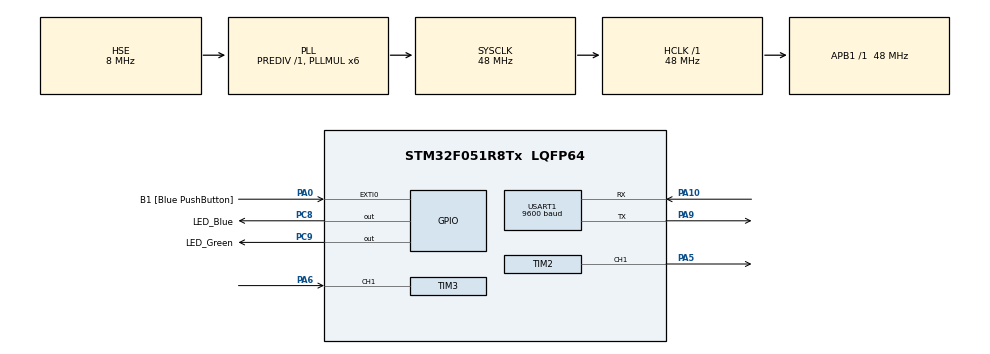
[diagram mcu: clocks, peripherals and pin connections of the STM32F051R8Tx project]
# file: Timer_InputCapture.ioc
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Dma.Request0=TIM2_CH1
Dma.TIM2_CH1.0.Direction=DMA_PERIPH_TO_MEMORY
Dma.TIM2_CH1.0.Instance=DMA1_Channel5
Dma.TIM2_CH1.0.MemDataAlignment=DMA_MDATAALIGN_WORD
Dma.TIM2_CH1.0.MemInc=DMA_MINC_ENABLE
Dma.TIM2_CH1.0.Mode=DMA_NORMAL
Dma.TIM2_CH1.0.PeriphDataAlignment=DMA_PDATAALIGN_WORD
Dma.TIM2_CH1.0.PeriphInc=DMA_PINC_DISABLE
Dma.TIM2_CH1.0.Priority=DMA_PRIORITY_LOW
Mcu.Family=STM32F0
Mcu.Name=STM32F051R8Tx
Mcu.Package=LQFP64
NVIC.DMA1_Channel4_5_IRQn=true\:0\:0\:false\:false\:true\:false\:true\:true
NVIC.TIM3_IRQn=true\:1\:0\:true\:false\:true\:true\:true\:true
NVIC.TIM6_DAC_IRQn=true\:0\:0\:false\:false\:true\:true\:true\:true
PA0.GPIO_Label=B1 [Blue PushButton]
PA0.GPIO_ModeDefaultEXTI=GPIO_MODE_EVT_RISING
PA0.Signal=GPXTI0
PA10.Mode=Asynchronous
PA10.Signal=USART1_RX
PA13.GPIO_Label=SWDIO
PA13.Mode=Serial_Wire
PA13.Signal=SYS_SWDIO
PA14.GPIO_Label=SWCLK
PA14.Mode=Serial_Wire
PA14.Signal=SYS_SWCLK
PA5.Signal=S_TIM2_CH1_ETR
PA6.Signal=S_TIM3_CH1
PA9.Mode=Asynchronous
PA9.Signal=USART1_TX
PC8.GPIO_Label=LED_Blue
PC8.Signal=GPIO_Output
PC9.GPIO_Label=LED_Green
PC9.Signal=GPIO_Output
PF0-OSC_IN.Mode=HSE-External-Oscillator
PF0-OSC_IN.Signal=RCC_OSC_IN
PF1-OSC_OUT.Mode=HSE-External-Oscillator
PF1-OSC_OUT.Signal=RCC_OSC_OUT
ProjectManager.HeapSize=0x200
ProjectManager.StackSize=0x400
ProjectManager.TargetToolchain=STM32CubeIDE
RCC.AHBFreq_Value=48000000
RCC.APB1Freq_Value=48000000
RCC.APB1TimFreq_Value=48000000
RCC.HCLKFreq_Value=48000000
RCC.PLLMUL=RCC_PLL_MUL6
RCC.PLLSourceVirtual=RCC_PLLSOURCE_HSE
RCC.SYSCLKFreq_VALUE=48000000
RCC.SYSCLKSource=RCC_SYSCLKSOURCE_PLLCLK
SH.S_TIM2_CH1_ETR.0=TIM2_CH1,PWM Generation1 CH1
SH.S_TIM3_CH1.0=TIM3_CH1,Input_Capture1_from_TI1
TIM2.Channel-PWM\ Generation1\ CH1=TIM_CHANNEL_1
TIM2.Period=100-1
TIM2.Prescaler=48-1
TIM3.AutoReloadPreload=TIM_AUTORELOAD_PRELOAD_DISABLE
TIM3.Channel-Input_Capture1_from_TI1=TIM_CHANNEL_1
TIM3.Period=0xFFFF
TIM3.Prescaler=48-1
TIM6.Period=1000-1
TIM6.Prescaler=48000-1
USART1.BaudRate=9600
USART1.Mode=MODE_TX_RX
USART1.VirtualMode-Asynchronous=VM_ASYNC
VP_TIM2_VS_ClockSourceINT.Mode=Internal
VP_TIM3_VS_ClockSourceINT.Mode=Internal
VP_TIM6_VS_ClockSourceINT.Mode=Enable_Timer
board=STM32F0DISCOVERY

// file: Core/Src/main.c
/* USER CODE BEGIN Header */
/**
  ******************************************************************************
  * @file           : main.c
  * @brief          : Main program body
  ******************************************************************************
  * Useful links:
  * 	- https://controllerstech.com/input-capture-in-stm32/
  * 	- https://community.st.com/t5/stm32-mcus/how-to-use-the-input-capture-feature/ta-p/704161
  *
  ******************************************************************************
  */
/* USER CODE END Header */
#include "main.h"

TIM_HandleTypeDef htim2;
TIM_HandleTypeDef htim3;
TIM_HandleTypeDef htim6;
DMA_HandleTypeDef hdma_tim2_ch1;

UART_HandleTypeDef huart1;

/* USER CODE BEGIN PV */
//#define TIMCLOCK   48000000
//#define PRESCALAR  48

uint8_t pwm_duty_percentage = 50;

uint8_t tx_data_dma[30] = {'\0'};

uint32_t IC_Val1 = 0;
uint32_t IC_Val2 = 0;
uint32_t Difference = 0;
int Is_First_Captured = 0;

/* Measure Frequency */
float frequency = 0;
/* USER CODE END PV */

void SystemClock_Config(void);
static void MX_GPIO_Init(void);
static void MX_DMA_Init(void);
static void MX_TIM2_Init(void);
static void MX_TIM3_Init(void);
static void MX_USART1_UART_Init(void);
static void MX_TIM6_Init(void);

int main(void)
{

  /* MCU Configuration--------------------------------------------------------*/

  /* Reset of all peripherals, Initializes the Flash interface and the Systick. */
  HAL_Init();

  /* Configure the system clock */
  SystemClock_Config();

  /* Initialize all configured peripherals */
  MX_GPIO_Init();
  MX_DMA_Init();
  MX_TIM2_Init();
  MX_TIM3_Init();
  MX_USART1_UART_Init();
  MX_TIM6_Init();
  /* USER CODE BEGIN 2 */

  uint8_t msg_init[] = "Program started.\n";
  HAL_UART_Transmit(&huart1, msg_init, sizeof(msg_init), HAL_MAX_DELAY);

  TIM2->CCR1 = pwm_duty_percentage; // 50% duty cycle
  HAL_TIM_PWM_Start(&htim2, TIM_CHANNEL_1);

  HAL_TIM_IC_Start_IT(&htim3, TIM_CHANNEL_1);

  HAL_TIM_Base_Start_IT(&htim6);

  /* USER CODE END 2 */

  /* Infinite loop */
  /* USER CODE BEGIN WHILE */
  while (1)
  {
	__WFI();
    /* USER CODE END WHILE */

  }
}

void SystemClock_Config(void)
{
  RCC_OscInitTypeDef RCC_OscInitStruct = {0};
  RCC_ClkInitTypeDef RCC_ClkInitStruct = {0};
  RCC_PeriphCLKInitTypeDef PeriphClkInit = {0};

  /** Initializes the RCC Oscillators according to the specified parameters
  * in the RCC_OscInitTypeDef structure.
  */
  RCC_OscInitStruct.OscillatorType = RCC_OSCILLATORTYPE_HSE;
  RCC_OscInitStruct.HSEState = RCC_HSE_ON;
  RCC_OscInitStruct.PLL.PLLState = RCC_PLL_ON;
  RCC_OscInitStruct.PLL.PLLSource = RCC_PLLSOURCE_HSE;
  RCC_OscInitStruct.PLL.PLLMUL = RCC_PLL_MUL6;
  RCC_OscInitStruct.PLL.PREDIV = RCC_PREDIV_DIV1;
  if (HAL_RCC_OscConfig(&RCC_OscInitStruct) != HAL_OK)
  {
    Error_Handler();
  }

  /** Initializes the CPU, AHB and APB buses clocks
  */
  RCC_ClkInitStruct.ClockType = RCC_CLOCKTYPE_HCLK|RCC_CLOCKTYPE_SYSCLK
                              |RCC_CLOCKTYPE_PCLK1;
  RCC_ClkInitStruct.SYSCLKSource = RCC_SYSCLKSOURCE_PLLCLK;
  RCC_ClkInitStruct.AHBCLKDivider = RCC_SYSCLK_DIV1;
  RCC_ClkInitStruct.APB1CLKDivider = RCC_HCLK_DIV1;

  if (HAL_RCC_ClockConfig(&RCC_ClkInitStruct, FLASH_LATENCY_1) != HAL_OK)
  {
    Error_Handler();
  }
  PeriphClkInit.PeriphClockSelection = RCC_PERIPHCLK_USART1;
  PeriphClkInit.Usart1ClockSelection = RCC_USART1CLKSOURCE_PCLK1;
  if (HAL_RCCEx_PeriphCLKConfig(&PeriphClkInit) != HAL_OK)
  {
    Error_Handler();
  }
}

static void MX_TIM2_Init(void)
{

  TIM_ClockConfigTypeDef sClockSourceConfig = {0};
  TIM_MasterConfigTypeDef sMasterConfig = {0};
  TIM_OC_InitTypeDef sConfigOC = {0};

  htim2.Instance = TIM2;
  htim2.Init.Prescaler = 48-1;
  htim2.Init.CounterMode = TIM_COUNTERMODE_UP;
  htim2.Init.Period = 100-1;
  htim2.Init.ClockDivision = TIM_CLOCKDIVISION_DIV1;
  htim2.Init.AutoReloadPreload = TIM_AUTORELOAD_PRELOAD_DISABLE;
  if (HAL_TIM_Base_Init(&htim2) != HAL_OK)
  {
    Error_Handler();
  }
  sClockSourceConfig.ClockSource = TIM_CLOCKSOURCE_INTERNAL;
  if (HAL_TIM_ConfigClockSource(&htim2, &sClockSourceConfig) != HAL_OK)
  {
    Error_Handler();
  }
  if (HAL_TIM_PWM_Init(&htim2) != HAL_OK)
  {
    Error_Handler();
  }
  sMasterConfig.MasterOutputTrigger = TIM_TRGO_RESET;
  sMasterConfig.MasterSlaveMode = TIM_MASTERSLAVEMODE_DISABLE;
  if (HAL_TIMEx_MasterConfigSynchronization(&htim2, &sMasterConfig) != HAL_OK)
  {
    Error_Handler();
  }
  sConfigOC.OCMode = TIM_OCMODE_PWM1;
  sConfigOC.Pulse = 0;
  sConfigOC.OCPolarity = TIM_OCPOLARITY_HIGH;
  sConfigOC.OCFastMode = TIM_OCFAST_DISABLE;
  if (HAL_TIM_PWM_ConfigChannel(&htim2, &sConfigOC, TIM_CHANNEL_1) != HAL_OK)
  {
    Error_Handler();
  }
  HAL_TIM_MspPostInit(&htim2);

}

static void MX_TIM3_Init(void)
{

  TIM_ClockConfigTypeDef sClockSourceConfig = {0};
  TIM_MasterConfigTypeDef sMasterConfig = {0};
  TIM_IC_InitTypeDef sConfigIC = {0};

  htim3.Instance = TIM3;
  htim3.Init.Prescaler = 48-1;
  htim3.Init.CounterMode = TIM_COUNTERMODE_UP;
  htim3.Init.Period = 0xFFFF;
  htim3.Init.ClockDivision = TIM_CLOCKDIVISION_DIV1;
  htim3.Init.AutoReloadPreload = TIM_AUTORELOAD_PRELOAD_DISABLE;
  if (HAL_TIM_Base_Init(&htim3) != HAL_OK)
  {
    Error_Handler();
  }
  sClockSourceConfig.ClockSource = TIM_CLOCKSOURCE_INTERNAL;
  if (HAL_TIM_ConfigClockSource(&htim3, &sClockSourceConfig) != HAL_OK)
  {
    Error_Handler();
  }
  if (HAL_TIM_IC_Init(&htim3) != HAL_OK)
  {
    Error_Handler();
  }
  sMasterConfig.MasterOutputTrigger = TIM_TRGO_RESET;
  sMasterConfig.MasterSlaveMode = TIM_MASTERSLAVEMODE_DISABLE;
  if (HAL_TIMEx_MasterConfigSynchronization(&htim3, &sMasterConfig) != HAL_OK)
  {
    Error_Handler();
  }
  sConfigIC.ICPolarity = TIM_INPUTCHANNELPOLARITY_RISING;
  sConfigIC.ICSelection = TIM_ICSELECTION_DIRECTTI;
  sConfigIC.ICPrescaler = TIM_ICPSC_DIV1;
  sConfigIC.ICFilter = 0;
  if (HAL_TIM_IC_ConfigChannel(&htim3, &sConfigIC, TIM_CHANNEL_1) != HAL_OK)
  {
    Error_Handler();
  }

}

static void MX_TIM6_Init(void)
{

  TIM_MasterConfigTypeDef sMasterConfig = {0};

  htim6.Instance = TIM6;
  htim6.Init.Prescaler = 48000-1;
  htim6.Init.CounterMode = TIM_COUNTERMODE_UP;
  htim6.Init.Period = 1000-1;
  htim6.Init.AutoReloadPreload = TIM_AUTORELOAD_PRELOAD_DISABLE;
  if (HAL_TIM_Base_Init(&htim6) != HAL_OK)
  {
    Error_Handler();
  }
  sMasterConfig.MasterOutputTrigger = TIM_TRGO_RESET;
  sMasterConfig.MasterSlaveMode = TIM_MASTERSLAVEMODE_DISABLE;
  if (HAL_TIMEx_MasterConfigSynchronization(&htim6, &sMasterConfig) != HAL_OK)
  {
    Error_Handler();
  }

}

static void MX_USART1_UART_Init(void)
{

  huart1.Instance = USART1;
  huart1.Init.BaudRate = 9600;
  huart1.Init.WordLength = UART_WORDLENGTH_8B;
  huart1.Init.StopBits = UART_STOPBITS_1;
  huart1.Init.Parity = UART_PARITY_NONE;
  huart1.Init.Mode = UART_MODE_TX_RX;
  huart1.Init.HwFlowCtl = UART_HWCONTROL_NONE;
  huart1.Init.OverSampling = UART_OVERSAMPLING_16;
  huart1.Init.OneBitSampling = UART_ONE_BIT_SAMPLE_DISABLE;
  huart1.AdvancedInit.AdvFeatureInit = UART_ADVFEATURE_NO_INIT;
  if (HAL_UART_Init(&huart1) != HAL_OK)
  {
    Error_Handler();
  }

}

static void MX_DMA_Init(void)
{

  /* DMA controller clock enable */
  __HAL_RCC_DMA1_CLK_ENABLE();

  /* DMA interrupt init */
  /* DMA1_Channel4_5_IRQn interrupt configuration */
  HAL_NVIC_SetPriority(DMA1_Channel4_5_IRQn, 0, 0);
  HAL_NVIC_EnableIRQ(DMA1_Channel4_5_IRQn);

}

static void MX_GPIO_Init(void)
{
  GPIO_InitTypeDef GPIO_InitStruct = {0};

  /* GPIO Ports Clock Enable */
  __HAL_RCC_GPIOF_CLK_ENABLE();
  __HAL_RCC_GPIOA_CLK_ENABLE();
  __HAL_RCC_GPIOC_CLK_ENABLE();

  /*Configure GPIO pin Output Level */
  HAL_GPIO_WritePin(GPIOC, LED_Blue_Pin|LED_Green_Pin, GPIO_PIN_RESET);

  /*Configure GPIO pin : B1_Pin */
  GPIO_InitStruct.Pin = B1_Pin;
  GPIO_InitStruct.Mode = GPIO_MODE_EVT_RISING;
  GPIO_InitStruct.Pull = GPIO_NOPULL;
  HAL_GPIO_Init(B1_GPIO_Port, &GPIO_InitStruct);

  /*Configure GPIO pins : LED_Blue_Pin LED_Green_Pin */
  GPIO_InitStruct.Pin = LED_Blue_Pin|LED_Green_Pin;
  GPIO_InitStruct.Mode = GPIO_MODE_OUTPUT_PP;
  GPIO_InitStruct.Pull = GPIO_NOPULL;
  GPIO_InitStruct.Speed = GPIO_SPEED_FREQ_LOW;
  HAL_GPIO_Init(GPIOC, &GPIO_InitStruct);

}

/* USER CODE BEGIN 4 */
void HAL_TIM_PeriodElapsedCallback(TIM_HandleTypeDef* htim)
{
	if (htim->Instance == TIM6) {
		HAL_GPIO_TogglePin(GPIOC, LED_Blue_Pin);

		sprintf(tx_data_dma, "\n\rDiff.: %d", Difference);
		HAL_UART_Transmit(&huart1, tx_data_dma, sizeof(tx_data_dma), HAL_MAX_DELAY);
	}
}

void HAL_TIM_IC_CaptureCallback(TIM_HandleTypeDef *htim)
{
	if (htim->Instance == TIM3){
		if (htim->Channel == HAL_TIM_ACTIVE_CHANNEL_1)
		{
			if (Is_First_Captured==0) // if the first rising edge is not captured
			{
				IC_Val1 = HAL_TIM_ReadCapturedValue(htim, TIM_CHANNEL_1); // read the first value
				Is_First_Captured = 1;  // set the first captured as true
			}
			else   // If the first rising edge is captured, now we will capture the second edge
			{
				IC_Val2 = HAL_TIM_ReadCapturedValue(htim, TIM_CHANNEL_1);  // read second value
				if (IC_Val2 > IC_Val1)
				{
					Difference = IC_Val2-IC_Val1;
				}
				else if (IC_Val1 > IC_Val2)
				{
					Difference = (0xffff - IC_Val1) + IC_Val2;	// 32-bit -> 0xffff
				}

				HAL_GPIO_TogglePin(GPIOC, LED_Green_Pin);

//				sprintf(tx_data_dma, "\n\rDiff.: %d", Difference);
//				HAL_UART_Transmit_DMA(&huart1, tx_data_dma, sizeof(tx_data_dma));

//				float refClock = TIMCLOCK/(PRESCALAR);
//				frequency = refClock/Difference;
//				__HAL_TIM_SET_COUNTER(htim, 0);  // reset the counter
				Is_First_Captured = 0; // set it back to false
			}
		}
	}
}
/* USER CODE END 4 */

void Error_Handler(void)
{
  __disable_irq();
  while (1)
  {
  }
}
